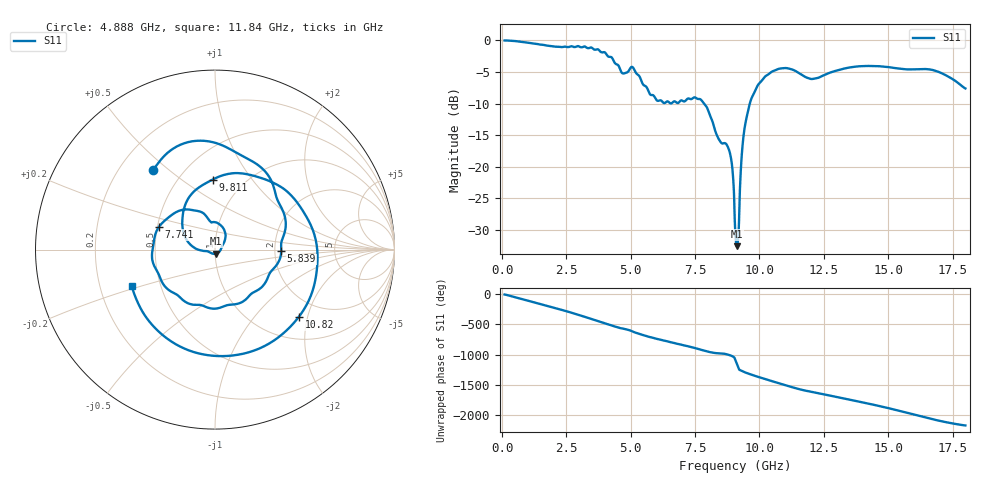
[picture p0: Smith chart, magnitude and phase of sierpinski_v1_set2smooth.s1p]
!Keysight Technologies,N5222B,MY60213399,A.14.00.23
!Date: Monday, June 05, 2023 21:17:03
!Correction: S11(C  1-Port  )
!S1P File: Measurement: :
# Hz S  dB  R 50
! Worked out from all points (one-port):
!   1601 points, 100 MHz to 18 GHz, reference 50 ohm
!   lowest |S11| = -32.6 dB at 9.128 GHz (marker M1), VSWR 1.05, Z = 50.3 - j2.33 ohm
!   |S11| at or under -10 dB: 7.843 GHz to 9.626 GHz (1.783 GHz wide, 20.4 % of centre)
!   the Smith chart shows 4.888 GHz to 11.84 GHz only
!   S11 on the Smith chart (normalised r, x): 4.888 GHz: 0.34, +0.44; 5.839 GHz: 2.17, -0.04; 7.741 GHz: 0.51, +0.15; 9.811 GHz: 0.72, +0.66; 10.82 GHz: 1.51, -1.77; 11.84 GHz: 0.34, -0.19
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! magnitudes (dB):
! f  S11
! 100 MHz  0.0
! 2.337 GHz  -1.1
! 3.725 GHz  -1.4
! 4.575 GHz  -4.4
! 4.888 GHz  -5.0
! 5.101 GHz  -4.4
! 5.839 GHz  -8.7
! 6.812 GHz  -9.9
! 7.741 GHz  -9.5
! 7.987 GHz  -10.9
! 8.412 GHz  -15.6
! 8.826 GHz  -17.4
! 8.927 GHz  -19.5
! 9.05 GHz  -29.5
! 9.128 GHz  -32.6
! 9.184 GHz  -30.7
! 9.319 GHz  -17.8
! 9.397 GHz  -14.6
! 9.587 GHz  -10.6
! 9.811 GHz  -8.2
! 10.22 GHz  -5.7
! 10.82 GHz  -4.5
! 11.29 GHz  -4.6
! 11.84 GHz  -5.9
! 13.53 GHz  -4.3
! 15.76 GHz  -4.6
! 16.86 GHz  -4.8
! 18 GHz  -7.6
